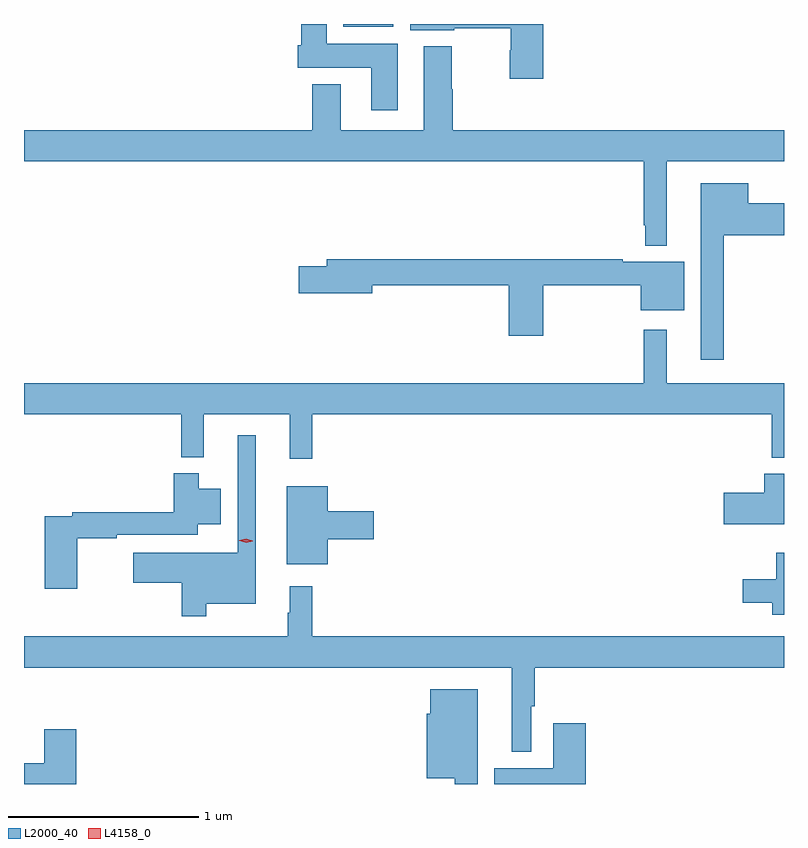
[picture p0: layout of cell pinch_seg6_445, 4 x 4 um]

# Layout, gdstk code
import gdstk
lib = gdstk.Library(unit=1e-6, precision=1e-09)
def R(c, l, rs):  # rectangles x0, y0, x1, y1
    for r in rs: c.add(gdstk.rectangle(r[:2], r[2:], *l))
def P(c, l, *ps):  # polygons
    for p in ps: c.add(gdstk.Polygon(p, *l))
L2000_40 = (2000, 40)
L4158_0 = (4158, 0)

pinch_seg6_445 = lib.new_cell('pinch_seg6_445')
R(pinch_seg6_445, L2000_40, [(711.692,938.72,711.955,938.735)])
P(pinch_seg6_445, L2000_40, [(711.979,938.632),(711.604,938.632),(711.604,938.735),(711.47,938.735),(711.47,938.622),(711.452,938.622),(711.452,938.504),(711.839,938.504),(711.839,938.28),(711.979,938.28)],
  [(712.745,938.735),(712.043,938.735),(712.043,938.702),(712.276,938.702),(712.276,938.713),(712.574,938.713),(712.574,938.598),(712.567,938.598),(712.567,938.448),(712.745,938.448)],
  [(713.395,938.012),(714.011,938.012),(714.011,938.176),(712.268,938.176),(712.268,938.391),(712.263,938.391),(712.263,938.617),(712.115,938.617),(712.115,938.176),(711.679,938.176),(711.679,938.419),(711.527,938.419),(711.527,938.176),(710.011,938.176),(710.011,938.012),(713.274,938.012),(713.274,937.675),(713.28,937.675),(713.28,937.568),(713.395,937.568)],
  [(713.695,937.622),(714.011,937.622),(714.011,937.792),(713.824,937.792),(713.824,937.897),(713.573,937.897),(713.573,936.969),(713.695,936.969)],
  [(712.745,937.36),(713.258,937.36),(713.258,937.229),(713.485,937.229),(713.485,937.483),(713.162,937.483),(713.162,937.496),(711.605,937.496),(711.605,937.46),(711.456,937.46),(711.456,937.318),(711.844,937.318),(711.844,937.36),(712.562,937.36),(712.562,937.095),(712.745,937.095)],
  [(711.527,936.68),(713.947,936.68),(713.947,936.452),(714.011,936.452),(714.011,936.844),(713.395,936.844),(713.395,937.126),(713.274,937.126),(713.274,936.844),(710.011,936.844),(710.011,936.68),(710.839,936.68),(710.839,936.455),(710.957,936.455),(710.957,936.68),(711.41,936.68),(711.41,936.447),(711.527,936.447)],
  [(710.971,935.684),(711.232,935.684),(711.232,936.571),(711.135,936.571),(711.135,935.953),(710.586,935.953),(710.586,935.795),(710.842,935.795),(710.842,935.619),(710.971,935.619)],
  [(710.29,936.028),(710.498,936.028),(710.498,936.048),(710.926,936.048),(710.926,936.101),(711.046,936.101),(711.046,936.289),(710.932,936.289),(710.932,936.37),(710.798,936.37),(710.798,936.164),(710.266,936.164),(710.266,936.144),(710.12,936.144),(710.12,935.763),(710.29,935.763)],
  [(714.011,936.367),(713.906,936.367),(713.906,936.267),(713.694,936.267),(713.694,936.101),(714.011,936.101)],
  [(711.61,936.023),(711.853,936.023),(711.853,936.17),(711.61,936.17),(711.61,936.301),(711.395,936.301),(711.395,935.891),(711.61,935.891)],
  [(714.011,935.953),(713.969,935.953),(713.969,935.812),(713.793,935.812),(713.793,935.69),(713.95,935.69),(713.95,935.627),(714.011,935.627)],
  [(712.681,935.143),(712.699,935.143),(712.699,935.348),(714.011,935.348),(714.011,935.512),(711.527,935.512),(711.527,935.776),(711.41,935.776),(711.41,935.636),(711.399,935.636),(711.399,935.512),(710.011,935.512),(710.011,935.348),(712.577,935.348),(712.577,934.904),(712.681,934.904)],
  [(712.399,935.233),(712.148,935.233),(712.148,935.106),(712.13,935.106),(712.13,934.766),(712.278,934.766),(712.278,934.735),(712.399,934.735)],
  [(712.967,935.056),(712.796,935.056),(712.796,934.819),(712.487,934.819),(712.487,934.735),(712.967,934.735)],
  [(710.285,935.023),(710.117,935.023),(710.117,934.843),(710.011,934.843),(710.011,934.735),(710.285,934.735)])
P(pinch_seg6_445, L4158_0, [(711.18,936.005),(711.145,936.016),(711.145,936.017),(711.145,936.017),(711.181,936.025),(711.216,936.014),(711.216,936.014),(711.216,936.013)])

lib.write_gds('pinch_seg6_445.gds')
